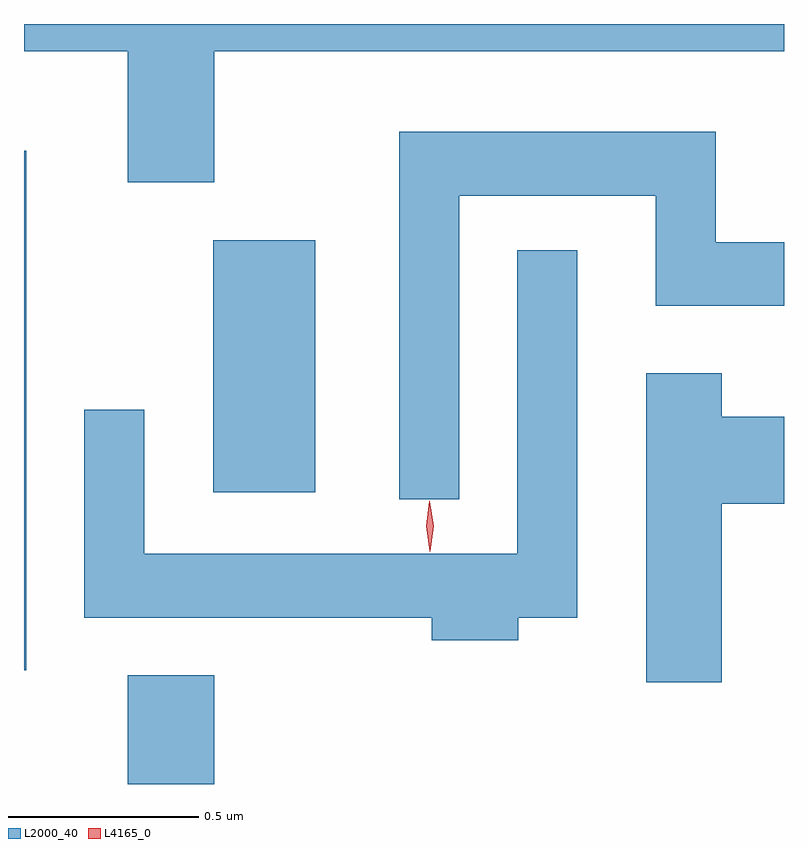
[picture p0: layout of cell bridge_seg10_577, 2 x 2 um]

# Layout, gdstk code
import gdstk
lib = gdstk.Library(unit=1e-6, precision=1e-09)
def R(c, l, rs):  # rectangles x0, y0, x1, y1
    for r in rs: c.add(gdstk.rectangle(r[:2], r[2:], *l))
def P(c, l, *ps):  # polygons
    for p in ps: c.add(gdstk.Polygon(p, *l))
L2000_40 = (2000, 40)
L4165_0 = (4165, 0)

bridge_seg10_577 = lib.new_cell('bridge_seg10_577')
R(bridge_seg10_577, L2000_40, [(767.451,2151.948,767.679,2152.234), (767.178,2152.248,767.184,2153.614), (767.676,2152.716,767.944,2153.379)])
P(bridge_seg10_577, L2000_40, [(767.679,2153.876),(769.178,2153.876),(769.178,2153.948),(767.178,2153.948),(767.178,2153.876),(767.451,2153.876),(767.451,2153.531),(767.679,2153.531)],
  [(768.324,2153.496),(768.841,2153.496),(768.841,2153.206),(769.178,2153.206),(769.178,2153.374),(768.999,2153.374),(768.999,2153.664),(768.166,2153.664),(768.166,2152.698),(768.324,2152.698)],
  [(768.479,2152.386),(768.634,2152.386),(768.634,2153.353),(768.476,2153.353),(768.476,2152.554),(767.494,2152.554),(767.494,2152.933),(767.336,2152.933),(767.336,2152.386),(768.251,2152.386),(768.251,2152.326),(768.479,2152.326)],
  [(769.014,2152.686),(769.178,2152.686),(769.178,2152.914),(769.014,2152.914),(769.014,2153.029),(768.816,2153.029),(768.816,2152.216),(769.014,2152.216)])
P(bridge_seg10_577, L4165_0, [(768.246,2152.559),(768.246,2152.56),(768.236,2152.626),(768.245,2152.692),(768.246,2152.693),(768.246,2152.692),(768.256,2152.626),(768.247,2152.56)])

lib.write_gds('bridge_seg10_577.gds')
